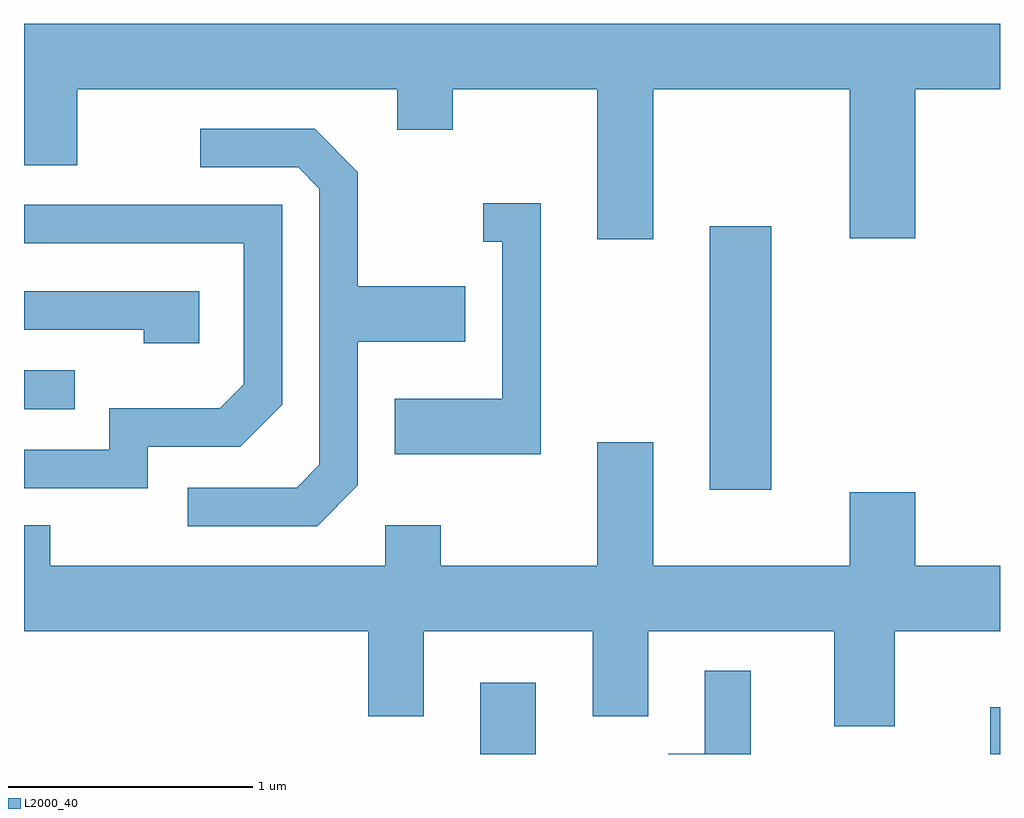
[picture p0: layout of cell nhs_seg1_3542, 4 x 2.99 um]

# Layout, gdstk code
import gdstk
lib = gdstk.Library(unit=1e-6, precision=1e-09)
def R(c, l, rs):  # rectangles x0, y0, x1, y1
    for r in rs: c.add(gdstk.rectangle(r[:2], r[2:], *l))
def P(c, l, *ps):  # polygons
    for p in ps: c.add(gdstk.Polygon(p, *l))
L2000_40 = (2000, 40)

nhs_seg1_3542 = lib.new_cell('nhs_seg1_3542')
R(nhs_seg1_3542, L2000_40, [(293.481,925.712,293.709,926.004), (295.571,925.712,295.611,925.904), (294.421,926.796,294.674,927.874), (291.611,927.126,291.818,927.284)])
P(nhs_seg1_3542, L2000_40, [(294.189,928.436),(294.996,928.436),(294.996,927.826),(295.264,927.826),(295.264,928.436),(295.611,928.436),(295.611,928.704),(291.611,928.704),(291.611,928.126),(291.829,928.126),(291.829,928.436),(293.141,928.436),(293.141,928.271),(293.369,928.271),(293.369,928.436),(293.961,928.436),(293.961,927.821),(294.189,927.821)],
  [(292.979,926.814),(292.979,927.401),(293.419,927.401),(293.419,927.629),(292.979,927.629),(292.979,928.097),(292.802,928.274),(292.333,928.274),(292.333,928.116),(292.734,928.116),(292.821,928.029),(292.821,926.897),(292.729,926.804),(292.283,926.804),(292.283,926.646),(292.812,926.646)],
  [(293.729,927.969),(293.493,927.969),(293.493,927.811),(293.571,927.811),(293.571,927.169),(293.131,927.169),(293.131,926.941),(293.729,926.941)],
  [(292.119,926.971),(292.497,926.971),(292.669,927.144),(292.669,927.964),(291.611,927.964),(291.611,927.806),(292.511,927.806),(292.511,927.227),(292.414,927.129),(291.961,927.129),(291.961,926.959),(291.611,926.959),(291.611,926.801),(292.119,926.801)],
  [(292.329,927.609),(291.611,927.609),(291.611,927.451),(292.101,927.451),(292.101,927.396),(292.329,927.396)],
  [(295.179,926.216),(295.611,926.216),(295.611,926.484),(295.264,926.484),(295.264,926.784),(294.996,926.784),(294.996,926.484),(294.189,926.484),(294.189,926.989),(293.961,926.989),(293.961,926.484),(293.319,926.484),(293.319,926.649),(293.091,926.649),(293.091,926.484),(291.719,926.484),(291.719,926.649),(291.611,926.649),(291.611,926.216),(293.021,926.216),(293.021,925.866),(293.249,925.866),(293.249,926.216),(293.941,926.216),(293.941,925.866),(294.169,925.866),(294.169,926.216),(294.931,926.216),(294.931,925.826),(295.179,925.826)],
  [(294.589,926.054),(294.401,926.054),(294.401,925.714),(294.251,925.714),(294.251,925.712),(294.589,925.712)])

lib.write_gds('nhs_seg1_3542.gds')
